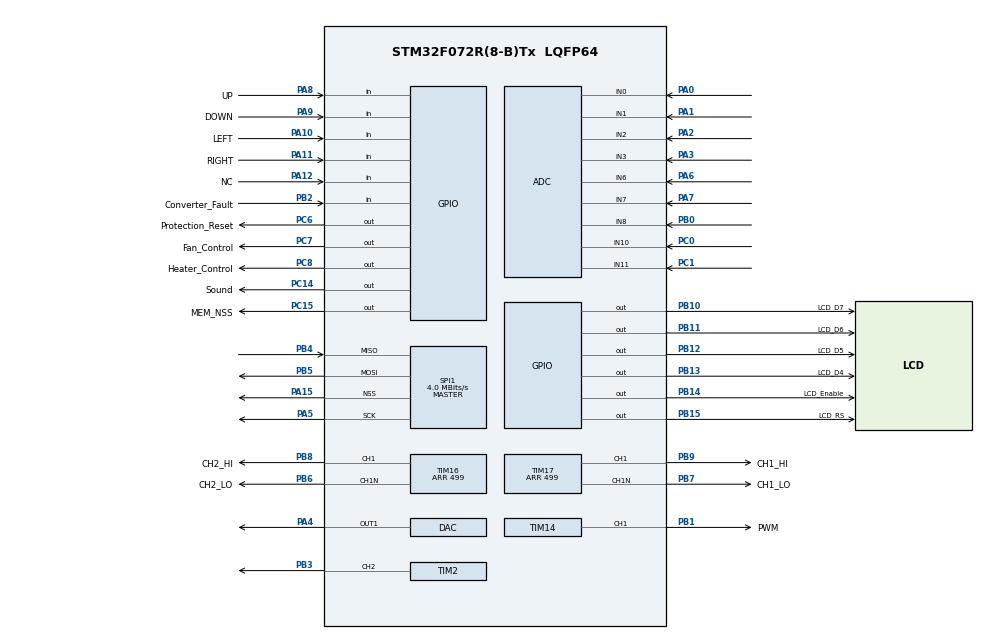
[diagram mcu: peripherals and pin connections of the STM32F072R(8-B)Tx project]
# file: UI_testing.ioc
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ADC.ClockPrescaler=ADC_CLOCK_SYNC_PCLK_DIV4
ADC.ContinuousConvMode=ENABLE
ADC.DMAContinuousRequests=ENABLE
ADC.EOCSelection=ADC_EOC_SEQ_CONV
ADC.ExternalTrigConv=ADC_EXTERNALTRIGCONV_T1_TRGO
ADC.Overrun=ADC_OVR_DATA_OVERWRITTEN
ADC.SamplingTime=ADC_SAMPLETIME_7CYCLES_5
CRC.DefaultInitValueUse=DEFAULT_INIT_VALUE_ENABLE
CRC.DefaultPolynomialUse=DEFAULT_POLYNOMIAL_ENABLE
Dma.ADC.0.Direction=DMA_PERIPH_TO_MEMORY
Dma.ADC.0.Instance=DMA1_Channel1
Dma.ADC.0.MemDataAlignment=DMA_MDATAALIGN_WORD
Dma.ADC.0.MemInc=DMA_MINC_ENABLE
Dma.ADC.0.Mode=DMA_CIRCULAR
Dma.ADC.0.PeriphDataAlignment=DMA_PDATAALIGN_HALFWORD
Dma.ADC.0.PeriphInc=DMA_PINC_DISABLE
Dma.ADC.0.Priority=DMA_PRIORITY_HIGH
Dma.Request0=ADC
Dma.Request1=SPI1_TX
Dma.Request2=SPI1_RX
Dma.SPI1_RX.2.Direction=DMA_PERIPH_TO_MEMORY
Dma.SPI1_RX.2.Instance=DMA1_Channel2
Dma.SPI1_RX.2.MemDataAlignment=DMA_MDATAALIGN_BYTE
Dma.SPI1_RX.2.MemInc=DMA_MINC_ENABLE
Dma.SPI1_RX.2.Mode=DMA_NORMAL
Dma.SPI1_RX.2.PeriphDataAlignment=DMA_PDATAALIGN_BYTE
Dma.SPI1_RX.2.PeriphInc=DMA_PINC_DISABLE
Dma.SPI1_RX.2.Priority=DMA_PRIORITY_LOW
Dma.SPI1_TX.1.Direction=DMA_MEMORY_TO_PERIPH
Dma.SPI1_TX.1.Instance=DMA1_Channel3
Dma.SPI1_TX.1.MemDataAlignment=DMA_MDATAALIGN_BYTE
Dma.SPI1_TX.1.MemInc=DMA_MINC_ENABLE
Dma.SPI1_TX.1.Mode=DMA_NORMAL
Dma.SPI1_TX.1.PeriphDataAlignment=DMA_PDATAALIGN_BYTE
Dma.SPI1_TX.1.PeriphInc=DMA_PINC_DISABLE
Dma.SPI1_TX.1.Priority=DMA_PRIORITY_LOW
Mcu.Family=STM32F0
Mcu.Name=STM32F072R(8-B)Tx
Mcu.Package=LQFP64
NVIC.DMA1_Channel1_IRQn=true\:0\:0\:false\:false\:true\:false\:true\:true
NVIC.DMA1_Channel2_3_IRQn=true\:0\:0\:false\:false\:true\:false\:true\:true
NVIC.TIM6_DAC_IRQn=true\:0\:0\:false\:false\:true\:true\:true\:true
PA0.Mode=IN0
PA0.Signal=ADC_IN0
PA1.Mode=IN1
PA1.Signal=ADC_IN1
PA10.GPIO_Label=LEFT
PA10.Signal=GPIO_Input
PA11.GPIO_Label=RIGHT
PA11.Signal=GPIO_Input
PA12.GPIO_Label=NC
PA12.GPIO_PuPd=GPIO_PULLUP
PA12.Signal=GPIO_Input
PA15.Mode=NSS_Signal_Hard_Output
PA15.Signal=SPI1_NSS
PA2.Mode=IN2
PA2.Signal=ADC_IN2
PA3.Mode=IN3
PA3.Signal=ADC_IN3
PA4.Signal=COMP_DAC1_group
PA5.Mode=Full_Duplex_Master
PA5.Signal=SPI1_SCK
PA6.Mode=IN6
PA6.Signal=ADC_IN6
PA7.Mode=IN7
PA7.Signal=ADC_IN7
PA8.GPIO_Label=UP
PA8.Signal=GPIO_Input
PA9.GPIO_Label=DOWN
PA9.Signal=GPIO_Input
PB0.Mode=IN8
PB0.Signal=ADC_IN8
PB1.GPIO_Label=PWM
PB1.Signal=S_TIM14_CH1
PB10.GPIO_Label=LCD_D7
PB10.GPIO_ModeDefaultOutputPP=GPIO_MODE_OUTPUT_PP
PB10.GPIO_PuPd=GPIO_PULLDOWN
PB10.Signal=GPIO_Output
PB11.GPIO_Label=LCD_D6
PB11.GPIO_PuPd=GPIO_PULLDOWN
PB11.Signal=GPIO_Output
PB12.GPIO_Label=LCD_D5
PB12.GPIO_PuPd=GPIO_PULLDOWN
PB12.Signal=GPIO_Output
PB13.GPIO_Label=LCD_D4
PB13.GPIO_PuPd=GPIO_PULLDOWN
PB13.Signal=GPIO_Output
PB14.GPIO_Label=LCD_Enable
PB14.GPIO_PuPd=GPIO_PULLDOWN
PB14.Signal=GPIO_Output
PB15.GPIO_Label=LCD_RS
PB15.GPIO_PuPd=GPIO_PULLDOWN
PB15.Signal=GPIO_Output
PB2.GPIO_Label=Converter_Fault
PB2.GPIO_PuPd=GPIO_PULLDOWN
PB2.Signal=GPIO_Input
PB3.Signal=S_TIM2_CH2
PB4.Mode=Full_Duplex_Master
PB4.Signal=SPI1_MISO
PB5.Mode=Full_Duplex_Master
PB5.Signal=SPI1_MOSI
PB6.GPIO_Label=CH2_LO
PB6.Mode=PWM Generation1 CH1 CH1N
PB6.Signal=TIM16_CH1N
PB7.GPIO_Label=CH1_LO
PB7.Mode=PWM Generation1 CH1 CH1N
PB7.Signal=TIM17_CH1N
PB8.GPIO_Label=CH2_HI
PB8.Signal=S_TIM16_CH1
PB9.GPIO_Label=CH1_HI
PB9.Signal=S_TIM17_CH1
PC0.Mode=IN10
PC0.Signal=ADC_IN10
PC1.Mode=IN11
PC1.Signal=ADC_IN11
PC14-OSC32_IN.GPIO_Label=Sound
PC14-OSC32_IN.GPIO_PuPd=GPIO_PULLDOWN
PC14-OSC32_IN.Signal=GPIO_Output
PC15-OSC32_OUT.GPIO_Label=MEM_NSS
PC15-OSC32_OUT.Signal=GPIO_Output
PC6.GPIO_Label=Protection_Reset
PC6.GPIO_PuPd=GPIO_PULLDOWN
PC6.Signal=GPIO_Output
PC7.GPIO_Label=Fan_Control
PC7.GPIO_PuPd=GPIO_PULLDOWN
PC7.Signal=GPIO_Output
PC8.GPIO_Label=Heater_Control
PC8.GPIO_PuPd=GPIO_PULLDOWN
PC8.Signal=GPIO_Output
ProjectManager.HeapSize=0x200
ProjectManager.StackSize=0x400
ProjectManager.TargetToolchain=STM32CubeIDE
SH.COMP_DAC1_group.0=DAC_OUT1,DAC_OUT1
SH.S_TIM14_CH1.0=TIM14_CH1,PWM Generation1 CH1
SH.S_TIM16_CH1.0=TIM16_CH1,PWM Generation1 CH1 CH1N
SH.S_TIM17_CH1.0=TIM17_CH1,PWM Generation1 CH1 CH1N
SH.S_TIM2_CH2.0=TIM2_CH2,PWM Generation2 CH2
SPI1.BaudRatePrescaler=SPI_BAUDRATEPRESCALER_2
SPI1.CalculateBaudRate=4.0 MBits/s
SPI1.DataSize=SPI_DATASIZE_8BIT
SPI1.Direction=SPI_DIRECTION_2LINES
SPI1.Mode=SPI_MODE_MASTER
SPI1.VirtualNSS=VM_NSSHARD
SPI1.VirtualType=VM_MASTER
TIM1.Period=499
TIM1.TIM_MasterOutputTrigger=TIM_TRGO_UPDATE
TIM14.Channel=TIM_CHANNEL_1
TIM14.Period=159
TIM14.Prescaler=0
TIM14.Pulse=159
TIM16.BreakState=TIM_BREAK_DISABLE
TIM16.Channel=TIM_CHANNEL_1
TIM16.DeadTime=10
TIM16.OCMode_PWM=TIM_OCMODE_PWM2
TIM16.Period=499
TIM17.Channel=TIM_CHANNEL_1
TIM17.DeadTime=10
TIM17.OCMode_PWM=TIM_OCMODE_PWM2
TIM17.Period=499
TIM2.Channel-PWM\ Generation2\ CH2=TIM_CHANNEL_2
TIM2.OCMode_PWM-PWM\ Generation2\ CH2=TIM_OCMODE_PWM2
TIM2.Period=499
TIM6.Period=999
TIM6.Prescaler=7
TIM6.TIM_MasterOutputTrigger=TIM_TRGO_UPDATE
VP_CRC_VS_CRC.Mode=CRC_Activate
VP_TIM14_VS_ClockSourceINT.Mode=Enable_Timer
VP_TIM16_VS_ClockSourceINT.Mode=Enable_Timer
VP_TIM17_VS_ClockSourceINT.Mode=Enable_Timer
VP_TIM1_VS_ClockSourceITR.Mode=TriggerSource_ITR0
VP_TIM6_VS_ClockSourceINT.Mode=Enable_Timer
board=custom

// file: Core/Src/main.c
/* USER CODE BEGIN Header */
/**
  ******************************************************************************
  * @file           : main.c
  * @brief          : Main program body
  ******************************************************************************
  * @attention
  *
  * Copyright (c) 2024 STMicroelectronics.
  * All rights reserved.
  *
  * This software is licensed under terms that can be found in the LICENSE file
  * in the root directory of this software component.
  * If no LICENSE file comes with this software, it is provided AS-IS.
  *
  ******************************************************************************
  */
/* USER CODE END Header */
#include "main.h"

/* USER CODE BEGIN Includes */
#include "lcd_wc1602a.h"
#include "keypad.h"
#include "state_events.h"
#include "cells_voltcontrol.h"
#include "climat_regulator.h"
#include "dessipator_control.h"
#include "regulator_cell_one.h"
#include "regulator_cell_two.h"
#include "conversion_data.h"
#include "cells_voltcontrol.h"
#include "converter_fault.h"
#include "spi_eeprom.h"
#include "flash_operation.h"
#include "auxiliary_function.h"
/* USER CODE END Includes */

ADC_HandleTypeDef hadc;
DMA_HandleTypeDef hdma_adc;

CRC_HandleTypeDef hcrc;

DAC_HandleTypeDef hdac;

SPI_HandleTypeDef hspi1;
DMA_HandleTypeDef hdma_spi1_tx;
DMA_HandleTypeDef hdma_spi1_rx;

TIM_HandleTypeDef htim1;
TIM_HandleTypeDef htim2;
TIM_HandleTypeDef htim6;
TIM_HandleTypeDef htim14;
TIM_HandleTypeDef htim16;
TIM_HandleTypeDef htim17;

/* USER CODE BEGIN PV */
volatile uint32_t rawAdcData[LENGTH_DATA_ADC];
/* USER CODE END PV */

void SystemClock_Config(void);
static void MX_GPIO_Init(void);
static void MX_DMA_Init(void);
static void MX_TIM14_Init(void);
static void MX_TIM6_Init(void);
static void MX_ADC_Init(void);
static void MX_TIM1_Init(void);
static void MX_DAC_Init(void);
static void MX_TIM16_Init(void);
static void MX_TIM17_Init(void);
static void MX_TIM2_Init(void);
static void MX_SPI1_Init(void);
static void MX_CRC_Init(void);
/* USER CODE BEGIN PFP */
void BatteryTester_HAL_startAdcDmaCallback(void);
void BatteryTester_HAL_setDacCallback(unsigned int);
void BatteryTester_HAL_stopAdcCallback(void);
void BatteryTester_HAL_startCh1PwmCallback();
void BatteryTester_HAL_stopCh1PwmCallback();
void BatteryTester_HAL_setCh1PwmPulseCallback(unsigned int);
void BatteryTester_HAL_startCh2PwmCallback();
void BatteryTester_HAL_stopCh2PwmCallback();
void BatteryTester_HAL_setCh2PwmPulseCallback(unsigned int);
void BatteryTester_HAL_startThermostatCallback();
void BatteryTester_HAL_stopThermostatCallback();
void BatteryTester_HAL_setThermostatPwmPulseCallback(int);
void BatteryTester_HAL_onDessipatorHardwareCallback();
void BatteryTester_HAL_offDessipatorHardwareCallback();
eBool_t BatteryTester_HAL_isStartCh1PwmCallback();
eBool_t BatteryTester_HAL_isStartCh2PwmCallback();
eBool_t BatteryTester_HAL_isConverterFaultCallback();
void BatteryTester_HAL_resetConverterFaultCallback();
void BatteryTester_HAL_onSoundHardwareCallback();
void BatteryTester_HAL_offSoundHardwareCallback();
uint8_t BatteryTester_HAL_transmitReceiveSpiCallback(uint8_t);
void BatteryTester_HAL_selectChipCallback(eCSAdapter_t);
void BatteryTester_HAL_receiveSpiCallback(uint8_t*, uint16_t, uint32_t);
void BatteryTester_HAL_transmitSpiCallback(uint8_t*, uint16_t, uint32_t);
void BatteryTester_HAL_transmitSpiDmaCallback(
		unsigned char*, unsigned char*, unsigned int);
void BatteryTester_HAL_transmitReceiveSpiDmaCallback(
		unsigned char*, unsigned char*, unsigned int);
eBool_t BatteryTester_HAL_isBusySpiCallback(void);
unsigned char BatteryTester_HAL_calculateCrcCallback(
		unsigned char*, unsigned int);
/* USER CODE END PFP */

int main(void)
{

  /* MCU Configuration--------------------------------------------------------*/

  /* Reset of all peripherals, Initializes the Flash interface and the Systick. */
  HAL_Init();

  /* Configure the system clock */
  SystemClock_Config();

  /* Initialize all configured peripherals */
  MX_GPIO_Init();
  MX_DMA_Init();
  MX_TIM14_Init();
  MX_TIM6_Init();
  MX_ADC_Init();
  MX_TIM1_Init();
  MX_DAC_Init();
  MX_TIM16_Init();
  MX_TIM17_Init();
  MX_TIM2_Init();
  MX_SPI1_Init();
  MX_CRC_Init();
  /* USER CODE BEGIN 2 */
  if(HAL_TIM_PWM_Start(&htim14, TIM_CHANNEL_1) != HAL_OK){
	  Error_Handler();
  }
  BatteryTester_WC1602A_init();
  HAL_Delay(2000);
  BatteryTester_WC1602A_offCursor();

  WRITE_REG(htim14.Instance->CCR1, 79);
  BatteryTester_State_initState();
  if(BatteryTester_EEPROM_initDecorator(
		  BatteryTester_HAL_transmitSpiDmaCallback,
		  BatteryTester_HAL_transmitReceiveSpiDmaCallback,
		  BatteryTester_HAL_isBusySpiCallback,
		  BatteryTester_HAL_calculateCrcCallback) != HAL_OK){
	  Error_Handler();
  }
  if(BatteryTester_EEPROM_begin()){
		BatteryTester_AuxiliaryFunction_initLogger();
		BatteryTester_RegulatorCellOne_initDecorator(
			  BatteryTester_HAL_startCh1PwmCallback,
			  BatteryTester_HAL_stopCh1PwmCallback,
			  BatteryTester_HAL_setCh1PwmPulseCallback,
			  BatteryTester_HAL_isStartCh1PwmCallback);
		BatteryTester_RegulatorCellTwo_initDecorator(
			  BatteryTester_HAL_startCh2PwmCallback,
			  BatteryTester_HAL_stopCh2PwmCallback,
			  BatteryTester_HAL_setCh2PwmPulseCallback,
			  BatteryTester_HAL_isStartCh2PwmCallback);
		BatteryTester_ClimatRegulator_initDecorator(
			  BatteryTester_HAL_startThermostatCallback,
			  BatteryTester_HAL_stopThermostatCallback,
			  BatteryTester_HAL_setThermostatPwmPulseCallback);
		BatteryTester_DessipatorControl_initDecorator(
			  BatteryTester_HAL_onDessipatorHardwareCallback,
			  BatteryTester_HAL_offDessipatorHardwareCallback, 0, 0);
		BatteryTester_CellsVoltcontrol_initDecorator(
			  BatteryTester_HAL_isStartCh1PwmCallback,
			  BatteryTester_HAL_isStartCh2PwmCallback);
		BatteryTester_ConverterFault_initDecorator(
			  BatteryTester_HAL_isConverterFaultCallback,
			  BatteryTester_HAL_resetConverterFaultCallback,
			  BatteryTester_HAL_onSoundHardwareCallback,
			  BatteryTester_HAL_offSoundHardwareCallback);
		BatteryTester_AT25SF081_initDecorator(
			  BatteryTester_HAL_transmitReceiveSpiCallback,
			  BatteryTester_HAL_selectChipCallback,
			  BatteryTester_HAL_receiveSpiCallback,
			  BatteryTester_HAL_transmitSpiCallback);

		if(HAL_TIM_Base_Start_IT(&htim6) != HAL_OK){
		  Error_Handler();
		 }
		 if(BatteryTester_ConversionData_initDecorator(
			BatteryTester_HAL_startAdcDmaCallback,
			BatteryTester_HAL_setDacCallback,
			BatteryTester_HAL_stopAdcCallback) != HAL_OK){
		  Error_Handler();
	     }

	     BatteryTester_EEPROM_end();
  }
  else{
	  Error_Handler();
  }
  /* USER CODE END 2 */

  /* Infinite loop */
  /* USER CODE BEGIN WHILE */
  while (1)
  {
	  BatteryTester_State_processState();
	  BatteryTester_EEPROM_processLogging();
    /* USER CODE END WHILE */

  }
}

void SystemClock_Config(void)
{
  RCC_OscInitTypeDef RCC_OscInitStruct = {0};
  RCC_ClkInitTypeDef RCC_ClkInitStruct = {0};

  /** Initializes the RCC Oscillators according to the specified parameters
  * in the RCC_OscInitTypeDef structure.
  */
  RCC_OscInitStruct.OscillatorType = RCC_OSCILLATORTYPE_HSI;
  RCC_OscInitStruct.HSIState = RCC_HSI_ON;
  RCC_OscInitStruct.HSICalibrationValue = RCC_HSICALIBRATION_DEFAULT;
  RCC_OscInitStruct.PLL.PLLState = RCC_PLL_NONE;
  if (HAL_RCC_OscConfig(&RCC_OscInitStruct) != HAL_OK)
  {
    Error_Handler();
  }

  /** Initializes the CPU, AHB and APB buses clocks
  */
  RCC_ClkInitStruct.ClockType = RCC_CLOCKTYPE_HCLK|RCC_CLOCKTYPE_SYSCLK
                              |RCC_CLOCKTYPE_PCLK1;
  RCC_ClkInitStruct.SYSCLKSource = RCC_SYSCLKSOURCE_HSI;
  RCC_ClkInitStruct.AHBCLKDivider = RCC_SYSCLK_DIV1;
  RCC_ClkInitStruct.APB1CLKDivider = RCC_HCLK_DIV1;

  if (HAL_RCC_ClockConfig(&RCC_ClkInitStruct, FLASH_LATENCY_0) != HAL_OK)
  {
    Error_Handler();
  }
}

static void MX_ADC_Init(void)
{

  ADC_ChannelConfTypeDef sConfig = {0};

  /** Configure the global features of the ADC (Clock, Resolution, Data Alignment and number of conversion)
  */
  hadc.Instance = ADC1;
  hadc.Init.ClockPrescaler = ADC_CLOCK_SYNC_PCLK_DIV4;
  hadc.Init.Resolution = ADC_RESOLUTION_12B;
  hadc.Init.DataAlign = ADC_DATAALIGN_RIGHT;
  hadc.Init.ScanConvMode = ADC_SCAN_DIRECTION_FORWARD;
  hadc.Init.EOCSelection = ADC_EOC_SEQ_CONV;
  hadc.Init.LowPowerAutoWait = DISABLE;
  hadc.Init.LowPowerAutoPowerOff = DISABLE;
  hadc.Init.ContinuousConvMode = ENABLE;
  hadc.Init.DiscontinuousConvMode = DISABLE;
  hadc.Init.ExternalTrigConv = ADC_EXTERNALTRIGCONV_T1_TRGO;
  hadc.Init.ExternalTrigConvEdge = ADC_EXTERNALTRIGCONVEDGE_RISING;
  hadc.Init.DMAContinuousRequests = ENABLE;
  hadc.Init.Overrun = ADC_OVR_DATA_OVERWRITTEN;
  if (HAL_ADC_Init(&hadc) != HAL_OK)
  {
    Error_Handler();
  }

  /** Configure for the selected ADC regular channel to be converted.
  */
  sConfig.Channel = ADC_CHANNEL_0;
  sConfig.Rank = ADC_RANK_CHANNEL_NUMBER;
  sConfig.SamplingTime = ADC_SAMPLETIME_7CYCLES_5;
  if (HAL_ADC_ConfigChannel(&hadc, &sConfig) != HAL_OK)
  {
    Error_Handler();
  }

  /** Configure for the selected ADC regular channel to be converted.
  */
  sConfig.Channel = ADC_CHANNEL_1;
  if (HAL_ADC_ConfigChannel(&hadc, &sConfig) != HAL_OK)
  {
    Error_Handler();
  }

  /** Configure for the selected ADC regular channel to be converted.
  */
  sConfig.Channel = ADC_CHANNEL_2;
  if (HAL_ADC_ConfigChannel(&hadc, &sConfig) != HAL_OK)
  {
    Error_Handler();
  }

  /** Configure for the selected ADC regular channel to be converted.
  */
  sConfig.Channel = ADC_CHANNEL_3;
  if (HAL_ADC_ConfigChannel(&hadc, &sConfig) != HAL_OK)
  {
    Error_Handler();
  }

  /** Configure for the selected ADC regular channel to be converted.
  */
  sConfig.Channel = ADC_CHANNEL_6;
  if (HAL_ADC_ConfigChannel(&hadc, &sConfig) != HAL_OK)
  {
    Error_Handler();
  }

  /** Configure for the selected ADC regular channel to be converted.
  */
  sConfig.Channel = ADC_CHANNEL_7;
  if (HAL_ADC_ConfigChannel(&hadc, &sConfig) != HAL_OK)
  {
    Error_Handler();
  }

  /** Configure for the selected ADC regular channel to be converted.
  */
  sConfig.Channel = ADC_CHANNEL_8;
  if (HAL_ADC_ConfigChannel(&hadc, &sConfig) != HAL_OK)
  {
    Error_Handler();
  }

  /** Configure for the selected ADC regular channel to be converted.
  */
  sConfig.Channel = ADC_CHANNEL_10;
  if (HAL_ADC_ConfigChannel(&hadc, &sConfig) != HAL_OK)
  {
    Error_Handler();
  }

  /** Configure for the selected ADC regular channel to be converted.
  */
  sConfig.Channel = ADC_CHANNEL_11;
  if (HAL_ADC_ConfigChannel(&hadc, &sConfig) != HAL_OK)
  {
    Error_Handler();
  }

}

static void MX_CRC_Init(void)
{

  hcrc.Instance = CRC;
  hcrc.Init.DefaultPolynomialUse = DEFAULT_POLYNOMIAL_ENABLE;
  hcrc.Init.DefaultInitValueUse = DEFAULT_INIT_VALUE_ENABLE;
  hcrc.Init.InputDataInversionMode = CRC_INPUTDATA_INVERSION_NONE;
  hcrc.Init.OutputDataInversionMode = CRC_OUTPUTDATA_INVERSION_DISABLE;
  hcrc.InputDataFormat = CRC_INPUTDATA_FORMAT_BYTES;
  if (HAL_CRC_Init(&hcrc) != HAL_OK)
  {
    Error_Handler();
  }

}

static void MX_DAC_Init(void)
{

  DAC_ChannelConfTypeDef sConfig = {0};

  /** DAC Initialization
  */
  hdac.Instance = DAC;
  if (HAL_DAC_Init(&hdac) != HAL_OK)
  {
    Error_Handler();
  }

  /** DAC channel OUT1 config
  */
  sConfig.DAC_Trigger = DAC_TRIGGER_NONE;
  sConfig.DAC_OutputBuffer = DAC_OUTPUTBUFFER_ENABLE;
  if (HAL_DAC_ConfigChannel(&hdac, &sConfig, DAC_CHANNEL_1) != HAL_OK)
  {
    Error_Handler();
  }

}

static void MX_SPI1_Init(void)
{

  /* SPI1 parameter configuration*/
  hspi1.Instance = SPI1;
  hspi1.Init.Mode = SPI_MODE_MASTER;
  hspi1.Init.Direction = SPI_DIRECTION_2LINES;
  hspi1.Init.DataSize = SPI_DATASIZE_8BIT;
  hspi1.Init.CLKPolarity = SPI_POLARITY_LOW;
  hspi1.Init.CLKPhase = SPI_PHASE_1EDGE;
  hspi1.Init.NSS = SPI_NSS_HARD_OUTPUT;
  hspi1.Init.BaudRatePrescaler = SPI_BAUDRATEPRESCALER_2;
  hspi1.Init.FirstBit = SPI_FIRSTBIT_MSB;
  hspi1.Init.TIMode = SPI_TIMODE_DISABLE;
  hspi1.Init.CRCCalculation = SPI_CRCCALCULATION_DISABLE;
  hspi1.Init.CRCPolynomial = 7;
  hspi1.Init.CRCLength = SPI_CRC_LENGTH_DATASIZE;
  hspi1.Init.NSSPMode = SPI_NSS_PULSE_ENABLE;
  if (HAL_SPI_Init(&hspi1) != HAL_OK)
  {
    Error_Handler();
  }

}

static void MX_TIM1_Init(void)
{

  TIM_SlaveConfigTypeDef sSlaveConfig = {0};
  TIM_MasterConfigTypeDef sMasterConfig = {0};

  htim1.Instance = TIM1;
  htim1.Init.Prescaler = 0;
  htim1.Init.CounterMode = TIM_COUNTERMODE_UP;
  htim1.Init.Period = 499;
  htim1.Init.ClockDivision = TIM_CLOCKDIVISION_DIV1;
  htim1.Init.RepetitionCounter = 0;
  htim1.Init.AutoReloadPreload = TIM_AUTORELOAD_PRELOAD_DISABLE;
  if (HAL_TIM_Base_Init(&htim1) != HAL_OK)
  {
    Error_Handler();
  }
  sSlaveConfig.SlaveMode = TIM_SLAVEMODE_DISABLE;
  sSlaveConfig.InputTrigger = TIM_TS_ITR0;
  if (HAL_TIM_SlaveConfigSynchro(&htim1, &sSlaveConfig) != HAL_OK)
  {
    Error_Handler();
  }
  sMasterConfig.MasterOutputTrigger = TIM_TRGO_UPDATE;
  sMasterConfig.MasterSlaveMode = TIM_MASTERSLAVEMODE_DISABLE;
  if (HAL_TIMEx_MasterConfigSynchronization(&htim1, &sMasterConfig) != HAL_OK)
  {
    Error_Handler();
  }

}

static void MX_TIM2_Init(void)
{

  TIM_MasterConfigTypeDef sMasterConfig = {0};
  TIM_OC_InitTypeDef sConfigOC = {0};

  htim2.Instance = TIM2;
  htim2.Init.Prescaler = 0;
  htim2.Init.CounterMode = TIM_COUNTERMODE_UP;
  htim2.Init.Period = 499;
  htim2.Init.ClockDivision = TIM_CLOCKDIVISION_DIV1;
  htim2.Init.AutoReloadPreload = TIM_AUTORELOAD_PRELOAD_DISABLE;
  if (HAL_TIM_PWM_Init(&htim2) != HAL_OK)
  {
    Error_Handler();
  }
  sMasterConfig.MasterOutputTrigger = TIM_TRGO_RESET;
  sMasterConfig.MasterSlaveMode = TIM_MASTERSLAVEMODE_DISABLE;
  if (HAL_TIMEx_MasterConfigSynchronization(&htim2, &sMasterConfig) != HAL_OK)
  {
    Error_Handler();
  }
  sConfigOC.OCMode = TIM_OCMODE_PWM2;
  sConfigOC.Pulse = 0;
  sConfigOC.OCPolarity = TIM_OCPOLARITY_HIGH;
  sConfigOC.OCFastMode = TIM_OCFAST_DISABLE;
  if (HAL_TIM_PWM_ConfigChannel(&htim2, &sConfigOC, TIM_CHANNEL_2) != HAL_OK)
  {
    Error_Handler();
  }
  HAL_TIM_MspPostInit(&htim2);

}

static void MX_TIM6_Init(void)
{

  TIM_MasterConfigTypeDef sMasterConfig = {0};

  htim6.Instance = TIM6;
  htim6.Init.Prescaler = 7;
  htim6.Init.CounterMode = TIM_COUNTERMODE_UP;
  htim6.Init.Period = 999;
  htim6.Init.AutoReloadPreload = TIM_AUTORELOAD_PRELOAD_DISABLE;
  if (HAL_TIM_Base_Init(&htim6) != HAL_OK)
  {
    Error_Handler();
  }
  sMasterConfig.MasterOutputTrigger = TIM_TRGO_UPDATE;
  sMasterConfig.MasterSlaveMode = TIM_MASTERSLAVEMODE_DISABLE;
  if (HAL_TIMEx_MasterConfigSynchronization(&htim6, &sMasterConfig) != HAL_OK)
  {
    Error_Handler();
  }

}

static void MX_TIM14_Init(void)
{

  TIM_OC_InitTypeDef sConfigOC = {0};

  htim14.Instance = TIM14;
  htim14.Init.Prescaler = 0;
  htim14.Init.CounterMode = TIM_COUNTERMODE_UP;
  htim14.Init.Period = 159;
  htim14.Init.ClockDivision = TIM_CLOCKDIVISION_DIV1;
  htim14.Init.AutoReloadPreload = TIM_AUTORELOAD_PRELOAD_DISABLE;
  if (HAL_TIM_Base_Init(&htim14) != HAL_OK)
  {
    Error_Handler();
  }
  if (HAL_TIM_PWM_Init(&htim14) != HAL_OK)
  {
    Error_Handler();
  }
  sConfigOC.OCMode = TIM_OCMODE_PWM1;
  sConfigOC.Pulse = 159;
  sConfigOC.OCPolarity = TIM_OCPOLARITY_HIGH;
  sConfigOC.OCFastMode = TIM_OCFAST_DISABLE;
  if (HAL_TIM_PWM_ConfigChannel(&htim14, &sConfigOC, TIM_CHANNEL_1) != HAL_OK)
  {
    Error_Handler();
  }
  HAL_TIM_MspPostInit(&htim14);

}

static void MX_TIM16_Init(void)
{

  TIM_OC_InitTypeDef sConfigOC = {0};
  TIM_BreakDeadTimeConfigTypeDef sBreakDeadTimeConfig = {0};

  htim16.Instance = TIM16;
  htim16.Init.Prescaler = 0;
  htim16.Init.CounterMode = TIM_COUNTERMODE_UP;
  htim16.Init.Period = 499;
  htim16.Init.ClockDivision = TIM_CLOCKDIVISION_DIV1;
  htim16.Init.RepetitionCounter = 0;
  htim16.Init.AutoReloadPreload = TIM_AUTORELOAD_PRELOAD_DISABLE;
  if (HAL_TIM_Base_Init(&htim16) != HAL_OK)
  {
    Error_Handler();
  }
  if (HAL_TIM_PWM_Init(&htim16) != HAL_OK)
  {
    Error_Handler();
  }
  sConfigOC.OCMode = TIM_OCMODE_PWM2;
  sConfigOC.Pulse = 0;
  sConfigOC.OCPolarity = TIM_OCPOLARITY_HIGH;
  sConfigOC.OCNPolarity = TIM_OCNPOLARITY_HIGH;
  sConfigOC.OCFastMode = TIM_OCFAST_DISABLE;
  sConfigOC.OCIdleState = TIM_OCIDLESTATE_RESET;
  sConfigOC.OCNIdleState = TIM_OCNIDLESTATE_RESET;
  if (HAL_TIM_PWM_ConfigChannel(&htim16, &sConfigOC, TIM_CHANNEL_1) != HAL_OK)
  {
    Error_Handler();
  }
  sBreakDeadTimeConfig.OffStateRunMode = TIM_OSSR_DISABLE;
  sBreakDeadTimeConfig.OffStateIDLEMode = TIM_OSSI_DISABLE;
  sBreakDeadTimeConfig.LockLevel = TIM_LOCKLEVEL_OFF;
  sBreakDeadTimeConfig.DeadTime = 10;
  sBreakDeadTimeConfig.BreakState = TIM_BREAK_DISABLE;
  sBreakDeadTimeConfig.BreakPolarity = TIM_BREAKPOLARITY_HIGH;
  sBreakDeadTimeConfig.AutomaticOutput = TIM_AUTOMATICOUTPUT_DISABLE;
  if (HAL_TIMEx_ConfigBreakDeadTime(&htim16, &sBreakDeadTimeConfig) != HAL_OK)
  {
    Error_Handler();
  }
  HAL_TIM_MspPostInit(&htim16);

}

static void MX_TIM17_Init(void)
{

  TIM_OC_InitTypeDef sConfigOC = {0};
  TIM_BreakDeadTimeConfigTypeDef sBreakDeadTimeConfig = {0};

  htim17.Instance = TIM17;
  htim17.Init.Prescaler = 0;
  htim17.Init.CounterMode = TIM_COUNTERMODE_UP;
  htim17.Init.Period = 499;
  htim17.Init.ClockDivision = TIM_CLOCKDIVISION_DIV1;
  htim17.Init.RepetitionCounter = 0;
  htim17.Init.AutoReloadPreload = TIM_AUTORELOAD_PRELOAD_DISABLE;
  if (HAL_TIM_Base_Init(&htim17) != HAL_OK)
  {
    Error_Handler();
  }
  if (HAL_TIM_PWM_Init(&htim17) != HAL_OK)
  {
    Error_Handler();
  }
  sConfigOC.OCMode = TIM_OCMODE_PWM2;
  sConfigOC.Pulse = 0;
  sConfigOC.OCPolarity = TIM_OCPOLARITY_HIGH;
  sConfigOC.OCNPolarity = TIM_OCNPOLARITY_HIGH;
  sConfigOC.OCFastMode = TIM_OCFAST_DISABLE;
  sConfigOC.OCIdleState = TIM_OCIDLESTATE_RESET;
  sConfigOC.OCNIdleState = TIM_OCNIDLESTATE_RESET;
  if (HAL_TIM_PWM_ConfigChannel(&htim17, &sConfigOC, TIM_CHANNEL_1) != HAL_OK)
  {
    Error_Handler();
  }
  sBreakDeadTimeConfig.OffStateRunMode = TIM_OSSR_DISABLE;
  sBreakDeadTimeConfig.OffStateIDLEMode = TIM_OSSI_DISABLE;
  sBreakDeadTimeConfig.LockLevel = TIM_LOCKLEVEL_OFF;
  sBreakDeadTimeConfig.DeadTime = 10;
  sBreakDeadTimeConfig.BreakState = TIM_BREAK_DISABLE;
  sBreakDeadTimeConfig.BreakPolarity = TIM_BREAKPOLARITY_HIGH;
  sBreakDeadTimeConfig.AutomaticOutput = TIM_AUTOMATICOUTPUT_DISABLE;
  if (HAL_TIMEx_ConfigBreakDeadTime(&htim17, &sBreakDeadTimeConfig) != HAL_OK)
  {
    Error_Handler();
  }
  HAL_TIM_MspPostInit(&htim17);

}

static void MX_DMA_Init(void)
{

  /* DMA controller clock enable */
  __HAL_RCC_DMA1_CLK_ENABLE();

  /* DMA interrupt init */
  /* DMA1_Channel1_IRQn interrupt configuration */
  HAL_NVIC_SetPriority(DMA1_Channel1_IRQn, 0, 0);
  HAL_NVIC_EnableIRQ(DMA1_Channel1_IRQn);
  /* DMA1_Channel2_3_IRQn interrupt configuration */
  HAL_NVIC_SetPriority(DMA1_Channel2_3_IRQn, 0, 0);
  HAL_NVIC_EnableIRQ(DMA1_Channel2_3_IRQn);

}

static void MX_GPIO_Init(void)
{
  GPIO_InitTypeDef GPIO_InitStruct = {0};

  /* GPIO Ports Clock Enable */
  __HAL_RCC_GPIOC_CLK_ENABLE();
  __HAL_RCC_GPIOA_CLK_ENABLE();
  __HAL_RCC_GPIOB_CLK_ENABLE();

  /*Configure GPIO pin Output Level */
  HAL_GPIO_WritePin(GPIOC, Sound_Pin|MEM_NSS_Pin|Protection_Reset_Pin|Fan_Control_Pin
                          |Heater_Control_Pin, GPIO_PIN_RESET);

  /*Configure GPIO pin Output Level */
  HAL_GPIO_WritePin(GPIOB, LCD_D7_Pin|LCD_D6_Pin|LCD_D5_Pin|LCD_D4_Pin
                          |LCD_Enable_Pin|LCD_RS_Pin, GPIO_PIN_RESET);

  /*Configure GPIO pins : Sound_Pin Protection_Reset_Pin Fan_Control_Pin Heater_Control_Pin */
  GPIO_InitStruct.Pin = Sound_Pin|Protection_Reset_Pin|Fan_Control_Pin|Heater_Control_Pin;
  GPIO_InitStruct.Mode = GPIO_MODE_OUTPUT_PP;
  GPIO_InitStruct.Pull = GPIO_PULLDOWN;
  GPIO_InitStruct.Speed = GPIO_SPEED_FREQ_LOW;
  HAL_GPIO_Init(GPIOC, &GPIO_InitStruct);

  /*Configure GPIO pin : MEM_NSS_Pin */
  GPIO_InitStruct.Pin = MEM_NSS_Pin;
  GPIO_InitStruct.Mode = GPIO_MODE_OUTPUT_PP;
  GPIO_InitStruct.Pull = GPIO_NOPULL;
  GPIO_InitStruct.Speed = GPIO_SPEED_FREQ_LOW;
  HAL_GPIO_Init(MEM_NSS_GPIO_Port, &GPIO_InitStruct);

  /*Configure GPIO pin : Converter_Fault_Pin */
  GPIO_InitStruct.Pin = Converter_Fault_Pin;
  GPIO_InitStruct.Mode = GPIO_MODE_INPUT;
  GPIO_InitStruct.Pull = GPIO_PULLDOWN;
  HAL_GPIO_Init(Converter_Fault_GPIO_Port, &GPIO_InitStruct);

  /*Configure GPIO pins : LCD_D7_Pin LCD_D6_Pin LCD_D5_Pin LCD_D4_Pin
                           LCD_Enable_Pin LCD_RS_Pin */
  GPIO_InitStruct.Pin = LCD_D7_Pin|LCD_D6_Pin|LCD_D5_Pin|LCD_D4_Pin
                          |LCD_Enable_Pin|LCD_RS_Pin;
  GPIO_InitStruct.Mode = GPIO_MODE_OUTPUT_PP;
  GPIO_InitStruct.Pull = GPIO_PULLDOWN;
  GPIO_InitStruct.Speed = GPIO_SPEED_FREQ_LOW;
  HAL_GPIO_Init(GPIOB, &GPIO_InitStruct);

  /*Configure GPIO pins : UP_Pin DOWN_Pin LEFT_Pin RIGHT_Pin */
  GPIO_InitStruct.Pin = UP_Pin|DOWN_Pin|LEFT_Pin|RIGHT_Pin;
  GPIO_InitStruct.Mode = GPIO_MODE_INPUT;
  GPIO_InitStruct.Pull = GPIO_NOPULL;
  HAL_GPIO_Init(GPIOA, &GPIO_InitStruct);

  /*Configure GPIO pin : NC_Pin */
  GPIO_InitStruct.Pin = NC_Pin;
  GPIO_InitStruct.Mode = GPIO_MODE_INPUT;
  GPIO_InitStruct.Pull = GPIO_PULLUP;
  HAL_GPIO_Init(NC_GPIO_Port, &GPIO_InitStruct);

}

/* USER CODE BEGIN 4 */
void  BatteryTester_HAL_startAdcDmaCallback(void){
	if(HAL_ADCEx_Calibration_Start(&hadc) != HAL_OK){
		Error_Handler();
	}
	if(HAL_TIM_Base_Start(&htim1) != HAL_OK){
		Error_Handler();
	}
	if(HAL_ADC_Start_DMA(&hadc, (uint32_t*) rawAdcData, LENGTH_DATA_ADC) != HAL_OK){
		Error_Handler();
	}
}

void BatteryTester_HAL_setDacCallback(unsigned int code){
	if(HAL_DAC_Start(&hdac, DAC_CHANNEL_1) != HAL_OK){
		Error_Handler();
	}
	WRITE_REG(hdac.Instance->DHR12R1, code);
}

void BatteryTester_HAL_stopAdcCallback(void){
	if(HAL_ADC_Stop_DMA(&hadc) != HAL_OK){
		Error_Handler();
	}
	if(HAL_TIM_Base_Stop(&htim1) != HAL_OK){
		Error_Handler();
	}
}

void BatteryTester_HAL_startCh1PwmCallback(){
	/*if(HAL_TIM_PWM_Start(&htim17, TIM_CHANNEL_1) != HAL_OK){
		Error_Handler();
	}
	if(HAL_TIMEx_PWMN_Start(&htim17, TIM_CHANNEL_1) != HAL_OK){
		Error_Handler();
	}*/
	/********FOR TESTING***********/
	if (TIM_CHANNEL_STATE_GET(&htim2, TIM_CHANNEL_1) == HAL_TIM_CHANNEL_STATE_READY){
		if(HAL_TIM_PWM_Start(&htim2, TIM_CHANNEL_1) != HAL_OK){
			Error_Handler();
		}
	}
}

void BatteryTester_HAL_stopCh1PwmCallback(){
	/*if(HAL_TIM_PWM_Stop(&htim17, TIM_CHANNEL_1) != HAL_OK){
		Error_Handler();
	}
	if(HAL_TIMEx_PWMN_Stop(&htim17, TIM_CHANNEL_1) != HAL_OK){
		Error_Handler();
	}*/
	/********FOR TESTING***********/
	if (TIM_CHANNEL_STATE_GET(&htim2, TIM_CHANNEL_1) == HAL_TIM_CHANNEL_STATE_BUSY){
		if(HAL_TIM_PWM_Stop(&htim2, TIM_CHANNEL_1) != HAL_OK){
			Error_Handler();
		}
	}
}

void BatteryTester_HAL_setCh1PwmPulseCallback(unsigned int pulse){
	//WRITE_REG(htim17.Instance->CCR1, pulse);
	/********FOR TESTING***********/
	WRITE_REG(htim2.Instance->CCR1, pulse);
}

void BatteryTester_HAL_startCh2PwmCallback(){
	/*if(HAL_TIM_PWM_Start(&htim17, TIM_CHANNEL_1) != HAL_OK){
		Error_Handler();
	}
	if(HAL_TIMEx_PWMN_Start(&htim17, TIM_CHANNEL_1) != HAL_OK){
		Error_Handler();
	}*/
	/********FOR TESTING***********/
	if(TIM_CHANNEL_STATE_GET(&htim2, TIM_CHANNEL_2) == HAL_TIM_CHANNEL_STATE_READY){
		if(HAL_TIM_PWM_Start(&htim2, TIM_CHANNEL_2) != HAL_OK){
			Error_Handler();
		}
	}
}

void BatteryTester_HAL_stopCh2PwmCallback(){
	/*if(HAL_TIM_PWM_Stop(&htim17, TIM_CHANNEL_1) != HAL_OK){
		Error_Handler();
	}
	if(HAL_TIMEx_PWMN_Stop(&htim17, TIM_CHANNEL_1) != HAL_OK){
		Error_Handler();
	}*/
	/********FOR TESTING***********/
	if(TIM_CHANNEL_STATE_GET(&htim2, TIM_CHANNEL_2) == HAL_TIM_CHANNEL_STATE_BUSY){
		if(HAL_TIM_PWM_Stop(&htim2, TIM_CHANNEL_2) != HAL_OK){
			Error_Handler();
		}
	}
}

void BatteryTester_HAL_setCh2PwmPulseCallback(unsigned int pulse){
	//WRITE_REG(htim17.Instance->CCR1, pulse);
	/********FOR TESTING***********/
	WRITE_REG(htim2.Instance->CCR2, pulse);
}

void BatteryTester_HAL_startThermostatCallback(){
	if(TIM_CHANNEL_STATE_GET(&htim17, TIM_CHANNEL_1) == HAL_TIM_CHANNEL_STATE_READY){
		if(HAL_TIM_PWM_Start(&htim17, TIM_CHANNEL_1) != HAL_OK){
			Error_Handler();
		}
	}
	if (TIM_CHANNEL_N_STATE_GET(&htim17, TIM_CHANNEL_1) == HAL_TIM_CHANNEL_STATE_READY){
		if(HAL_TIMEx_PWMN_Start(&htim17, TIM_CHANNEL_1) != HAL_OK){
			Error_Handler();
		}
	}
	if(TIM_CHANNEL_STATE_GET(&htim16, TIM_CHANNEL_1) == HAL_TIM_CHANNEL_STATE_READY){
		if(HAL_TIM_PWM_Start(&htim16, TIM_CHANNEL_1) != HAL_OK){
			Error_Handler();
		}
	}
	if (TIM_CHANNEL_N_STATE_GET(&htim16, TIM_CHANNEL_1) == HAL_TIM_CHANNEL_STATE_READY){
		if(HAL_TIMEx_PWMN_Start(&htim16, TIM_CHANNEL_1) != HAL_OK){
			Error_Handler();
		}
	}
}

void BatteryTester_HAL_stopThermostatCallback(){
	if(TIM_CHANNEL_STATE_GET(&htim17, TIM_CHANNEL_1) == HAL_TIM_CHANNEL_STATE_BUSY){
		if(HAL_TIM_PWM_Stop(&htim17, TIM_CHANNEL_1) != HAL_OK){
			Error_Handler();
		}
	}
	if (TIM_CHANNEL_N_STATE_GET(&htim17, TIM_CHANNEL_1) == HAL_TIM_CHANNEL_STATE_BUSY){
		if(HAL_TIMEx_PWMN_Stop(&htim17, TIM_CHANNEL_1) != HAL_OK){
			Error_Handler();
		}
	}
	if(TIM_CHANNEL_STATE_GET(&htim16, TIM_CHANNEL_1) == HAL_TIM_CHANNEL_STATE_BUSY){
		if(HAL_TIM_PWM_Stop(&htim16, TIM_CHANNEL_1) != HAL_OK){
			Error_Handler();
		}
	}
	if (TIM_CHANNEL_N_STATE_GET(&htim16, TIM_CHANNEL_1) == HAL_TIM_CHANNEL_STATE_BUSY){
		if(HAL_TIMEx_PWMN_Stop(&htim16, TIM_CHANNEL_1) != HAL_OK){
			Error_Handler();
		}
	}
}

void BatteryTester_HAL_setThermostatPwmPulseCallback(int pulse){
	unsigned int pulsePhA = 50 + pulse / 2;
	unsigned int pulsePhB = 50 - pulse / 2;
	WRITE_REG(htim17.Instance->CCR1, pulsePhA);
	WRITE_REG(htim16.Instance->CCR1, pulsePhB);
}

void BatteryTester_HAL_onDessipatorHardwareCallback(){
	HAL_GPIO_WritePin(
				Heater_Control_GPIO_Port,
				Heater_Control_Pin,
				GPIO_PIN_SET);
	HAL_GPIO_WritePin(
				Fan_Control_GPIO_Port,
				Fan_Control_Pin,
				GPIO_PIN_SET);
}

void BatteryTester_HAL_offDessipatorHardwareCallback(){
	HAL_GPIO_WritePin(
				Heater_Control_GPIO_Port,
				Heater_Control_Pin,
				GPIO_PIN_RESET);
	HAL_GPIO_WritePin(
				Fan_Control_GPIO_Port,
				Fan_Control_Pin,
				GPIO_PIN_RESET);
}

eBool_t BatteryTester_HAL_isStartCh1PwmCallback(){
	if (TIM_CHANNEL_STATE_GET(&htim2, TIM_CHANNEL_1) == HAL_TIM_CHANNEL_STATE_BUSY){
		return TRUE;
	}
	return FALSE;
}

eBool_t BatteryTester_HAL_isStartCh2PwmCallback(){
	if(TIM_CHANNEL_STATE_GET(&htim2, TIM_CHANNEL_2) == HAL_TIM_CHANNEL_STATE_BUSY){
		return TRUE;
	}
	return FALSE;
}

eBool_t BatteryTester_HAL_isConverterFaultCallback(){
	if(HAL_GPIO_ReadPin(Converter_Fault_GPIO_Port, Converter_Fault_Pin) == GPIO_PIN_SET){
		return TRUE;
	}
	return FALSE;
}

/*@brief: Hardware reset converter fault signal callback
 * @danger: use blocking wait
 */
void BatteryTester_HAL_resetConverterFaultCallback(){
	HAL_GPIO_WritePin(
			Protection_Reset_GPIO_Port,
			Protection_Reset_Pin,
			GPIO_PIN_SET);
	HAL_Delay(100);
	HAL_GPIO_WritePin(
			Protection_Reset_GPIO_Port,
			Protection_Reset_Pin,
			GPIO_PIN_RESET);
}

void BatteryTester_HAL_onSoundHardwareCallback(){
	HAL_GPIO_WritePin(
			Sound_GPIO_Port,
			Sound_Pin,
			GPIO_PIN_SET);
}

void BatteryTester_HAL_offSoundHardwareCallback(){
	HAL_GPIO_WritePin(
			Sound_GPIO_Port,
			Sound_Pin,
			GPIO_PIN_RESET);
}

uint8_t BatteryTester_HAL_transmitReceiveSpiCallback(uint8_t data){
	uint8_t ret;
	if(HAL_SPI_TransmitReceive(&hspi1, &data, &ret, 1, 100) != HAL_OK){
		Error_Handler();
	}
	return ret;
}

void BatteryTester_HAL_selectChipCallback(eCSAdapter_t select){
	HAL_GPIO_WritePin(MEM_NSS_GPIO_Port, MEM_NSS_Pin, select);
}

/*@brief  Receive an amount of data in blocking mode.
* @param  hspi pointer to a SPI_HandleTypeDef structure that contains
*               the configuration information for SPI module.
* @param  pData pointer to data buffer
* @param  Size amount of data to be received
* @param  Timeout Timeout duration
* @retval HAL status
*/
void BatteryTester_HAL_receiveSpiCallback(uint8_t* pBuffer, uint16_t size, uint32_t timeout){
	if(HAL_SPI_Receive(&hspi1, pBuffer, size, timeout) != HAL_OK){
		Error_Handler();
	}
}

/**
	  * @brief  Transmit an amount of data in blocking mode.
	  * @param  hspi pointer to a SPI_HandleTypeDef structure that contains
	  *               the configuration information for SPI module.
	  * @param  pData pointer to data buffer
	  * @param  Size amount of data to be sent
	  * @param  Timeout Timeout duration
	  * @retval HAL status
	  */
void BatteryTester_HAL_transmitSpiCallback(uint8_t* pBuffer, uint16_t size, uint32_t timeout){
	if(HAL_SPI_Transmit(&hspi1, pBuffer, size, timeout) != HAL_OK){
		Error_Handler();
	}
}

void BatteryTester_HAL_transmitSpiDmaCallback(
		unsigned char* pBufferTx, unsigned char* notUsed, unsigned int sizeOfBytes){
	if(HAL_SPI_Transmit_DMA(&hspi1, (uint8_t*)pBufferTx, (uint16_t)sizeOfBytes) != HAL_OK){
		Error_Handler();
	}
}

void BatteryTester_HAL_transmitReceiveSpiDmaCallback(
		unsigned char* pBufferTx, unsigned char* pBufferRx, unsigned int sizeOfBytes){
	if(HAL_SPI_TransmitReceive_DMA(&hspi1, (uint8_t*)pBufferTx, (uint8_t*)pBufferRx,
                                              (uint16_t)sizeOfBytes) != HAL_OK){
		Error_Handler();
	}
}

eBool_t BatteryTester_HAL_isBusySpiCallback(void){
	if (hspi1.State != HAL_SPI_STATE_READY)
	{
		return TRUE;
	}
	return FALSE;
}

unsigned char BatteryTester_HAL_calculateCrcCallback(
		unsigned char* pData, unsigned int sizeOfBytes){
	return (unsigned char)HAL_CRC_Calculate(&hcrc, (uint32_t*)pData, (uint32_t)sizeOfBytes);
}
/* USER CODE END 4 */

void Error_Handler(void)
{
  __disable_irq();
  while (1)
  {
  }
}
